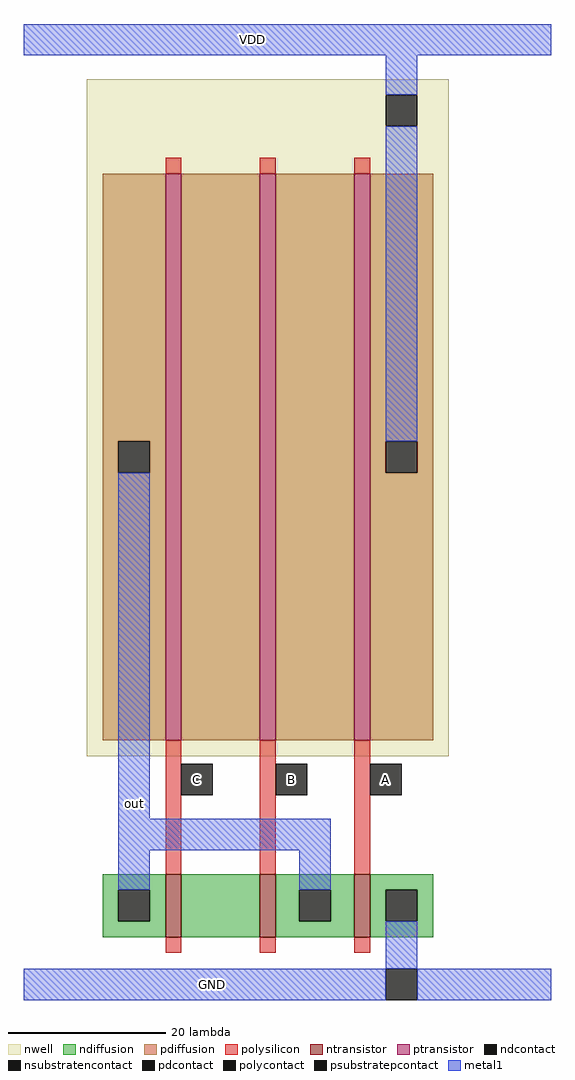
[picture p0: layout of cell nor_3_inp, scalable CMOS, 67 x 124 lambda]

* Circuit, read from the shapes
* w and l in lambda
.subckt nor_3_inp A B C GND VDD out
M1 n1 C out GND nfet w=8 l=2
M2 out B n1 GND nfet w=8 l=2
M3 GND A out GND nfet w=8 l=2
M4 n2 C out VDD pfet w=72 l=2
M5 n3 B n2 VDD pfet w=72 l=2
M6 VDD A n3 VDD pfet w=72 l=2
.ends

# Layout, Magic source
magic
tech scmos
<< nwell >>
rect -29 -10 17 76
<< polysilicon >>
rect -19 64 -17 66
rect -7 64 -5 66
rect 5 64 7 66
rect -19 -25 -17 -8
rect -7 -25 -5 -8
rect 5 -25 7 -8
rect -19 -35 -17 -33
rect -7 -35 -5 -33
rect 5 -35 7 -33
<< ndiffusion >>
rect -27 -27 -19 -25
rect -27 -31 -25 -27
rect -21 -31 -19 -27
rect -27 -33 -19 -31
rect -17 -33 -7 -25
rect -5 -27 5 -25
rect -5 -31 -2 -27
rect 2 -31 5 -27
rect -5 -33 5 -31
rect 7 -27 15 -25
rect 7 -31 9 -27
rect 13 -31 15 -27
rect 7 -33 15 -31
<< pdiffusion >>
rect -27 30 -19 64
rect -27 26 -25 30
rect -21 26 -19 30
rect -27 -8 -19 26
rect -17 -8 -7 64
rect -5 -8 5 64
rect 7 30 15 64
rect 7 26 9 30
rect 13 26 15 30
rect 7 -8 15 26
<< metal1 >>
rect -37 79 30 83
rect 9 74 13 79
rect 9 30 13 70
rect -25 -18 -21 26
rect -25 -22 2 -18
rect -25 -27 -21 -22
rect -2 -27 2 -22
rect 9 -37 13 -31
rect -37 -41 9 -37
rect 13 -41 30 -37
<< ntransistor >>
rect -19 -33 -17 -25
rect -7 -33 -5 -25
rect 5 -33 7 -25
<< ptransistor >>
rect -19 -8 -17 64
rect -7 -8 -5 64
rect 5 -8 7 64
<< polycontact >>
rect -17 -15 -13 -11
rect -5 -15 -1 -11
rect 7 -15 11 -11
<< ndcontact >>
rect -25 -31 -21 -27
rect -2 -31 2 -27
rect 9 -31 13 -27
<< pdcontact >>
rect -25 26 -21 30
rect 9 26 13 30
<< psubstratepcontact >>
rect 9 -41 13 -37
<< nsubstratencontact >>
rect 9 70 13 74
<< labels >>
rlabel polycontact 9 -13 9 -13 1 A
rlabel polycontact -3 -13 -3 -13 1 B
rlabel polycontact -15 -13 -15 -13 1 C
rlabel metal1 -23 -16 -23 -16 1 out
rlabel metal1 -13 -39 -13 -39 1 GND
rlabel metal1 -8 81 -8 81 5 VDD
<< end >>
